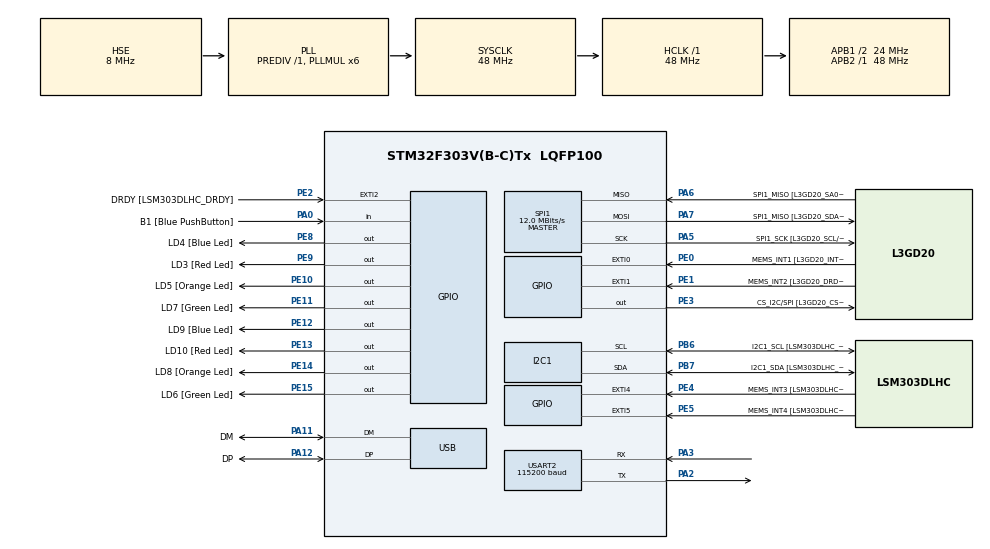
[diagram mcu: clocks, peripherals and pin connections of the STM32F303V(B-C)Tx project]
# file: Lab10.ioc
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I2C1.Timing=0x2000090E
I2C1.Timing-I2C=0x2000090E
Mcu.Family=STM32F3
Mcu.Name=STM32F303V(B-C)Tx
Mcu.Package=LQFP100
NVIC.PriorityGroup=NVIC_PRIORITYGROUP_0
PA0.GPIO_Label=B1 [Blue PushButton]
PA0.Signal=GPIO_Input
PA11.GPIO_Label=DM
PA11.Mode=Device
PA11.Signal=USB_DM
PA12.GPIO_Label=DP
PA12.Mode=Device
PA12.Signal=USB_DP
PA13.GPIO_Label=SWDIO
PA13.Mode=Serial_Wire
PA13.Signal=SYS_JTMS-SWDIO
PA14.GPIO_Label=SWCLK
PA14.Mode=Serial_Wire
PA14.Signal=SYS_JTCK-SWCLK
PA2.Mode=Asynchronous
PA2.Signal=USART2_TX
PA3.Mode=Asynchronous
PA3.Signal=USART2_RX
PA5.GPIO_Label=SPI1_SCK [L3GD20_SCL/SPC]
PA5.Mode=Full_Duplex_Master
PA5.Signal=SPI1_SCK
PA6.GPIO_Label=SPI1_MISO [L3GD20_SA0/SDO]
PA6.Mode=Full_Duplex_Master
PA6.Signal=SPI1_MISO
PA7.GPIO_Label=SPI1_MISO [L3GD20_SDA/SDI/SDO]
PA7.Mode=Full_Duplex_Master
PA7.Signal=SPI1_MOSI
PB3.GPIO_Label=SWO
PB3.Signal=SYS_JTDO-TRACESWO
PB6.GPIO_Label=I2C1_SCL [LSM303DLHC_SCL]
PB6.GPIO_Pu=GPIO_PULLUP
PB6.Mode=I2C
PB6.Signal=I2C1_SCL
PB7.GPIO_Label=I2C1_SDA [LSM303DLHC_SDA]
PB7.GPIO_Pu=GPIO_PULLUP
PB7.Mode=I2C
PB7.Signal=I2C1_SDA
PC14-OSC32_IN.GPIO_Label=OSC32_IN
PC14-OSC32_IN.Signal=RCC_OSC32_IN
PC15-OSC32_OUT.GPIO_Label=OSC32_OUT
PC15-OSC32_OUT.Signal=RCC_OSC32_OUT
PE0.GPIO_Label=MEMS_INT1 [L3GD20_INT1]
PE0.GPIO_ModeDefaultEXTI=GPIO_MODE_EVT_RISING
PE0.Signal=GPXTI0
PE1.GPIO_Label=MEMS_INT2 [L3GD20_DRDY/INT2]
PE1.GPIO_ModeDefaultEXTI=GPIO_MODE_EVT_RISING
PE1.Signal=GPXTI1
PE10.GPIO_Label=LD5 [Orange Led]
PE10.Signal=GPIO_Output
PE11.GPIO_Label=LD7 [Green Led]
PE11.Signal=GPIO_Output
PE12.GPIO_Label=LD9 [Blue Led]
PE12.Signal=GPIO_Output
PE13.GPIO_Label=LD10 [Red Led]
PE13.Signal=GPIO_Output
PE14.GPIO_Label=LD8 [Orange Led]
PE14.Signal=GPIO_Output
PE15.GPIO_Label=LD6 [Green Led]
PE15.Signal=GPIO_Output
PE2.GPIO_Label=DRDY [LSM303DLHC_DRDY]
PE2.GPIO_ModeDefaultEXTI=GPIO_MODE_EVT_RISING
PE2.Signal=GPXTI2
PE3.GPIO_Label=CS_I2C/SPI [L3GD20_CS_I2C/SPI]
PE3.Signal=GPIO_Output
PE4.GPIO_Label=MEMS_INT3 [LSM303DLHC_INT1]
PE4.GPIO_ModeDefaultEXTI=GPIO_MODE_EVT_RISING
PE4.Signal=GPXTI4
PE5.GPIO_Label=MEMS_INT4 [LSM303DLHC_INT2]
PE5.GPIO_ModeDefaultEXTI=GPIO_MODE_EVT_RISING
PE5.Signal=GPXTI5
PE8.GPIO_Label=LD4 [Blue Led]
PE8.Signal=GPIO_Output
PE9.GPIO_Label=LD3 [Red Led]
PE9.Signal=GPIO_Output
PF0-OSC_IN.GPIO_Label=OSC_IN
PF0-OSC_IN.Mode=HSE-External-Clock-Source
PF0-OSC_IN.Signal=RCC_OSC_IN
PF1-OSC_OUT.GPIO_Label=OSC_OUT
PF1-OSC_OUT.Signal=RCC_OSC_OUT
ProjectManager.HeapSize=0x200
ProjectManager.StackSize=0x400
ProjectManager.TargetToolchain=CMake
RCC.AHBFreq_Value=48000000
RCC.APB1CLKDivider=RCC_HCLK_DIV2
RCC.APB1Freq_Value=24000000
RCC.APB1TimFreq_Value=48000000
RCC.APB2Freq_Value=48000000
RCC.APB2TimFreq_Value=48000000
RCC.CortexFreq_Value=48000000
RCC.HCLKFreq_Value=48000000
RCC.HSE_VALUE=8000000
RCC.HSI_VALUE=8000000
RCC.LSE_VALUE=32768
RCC.PLLMUL=RCC_PLL_MUL6
RCC.SYSCLKFreq_VALUE=48000000
RCC.SYSCLKSourceVirtual=RCC_SYSCLKSOURCE_PLLCLK
RCC.USBFreq_Value=48000000
SPI1.BaudRatePrescaler=SPI_BAUDRATEPRESCALER_4
SPI1.BaudRatePrescaler-Full_Duplex_Master=SPI_BAUDRATEPRESCALER_2
SPI1.CalculateBaudRate=12.0 MBits/s
SPI1.CalculateBaudRate-Full_Duplex_Master=24.0 MBits/s
SPI1.Direction=SPI_DIRECTION_2LINES
SPI1.Mode=SPI_MODE_MASTER
SPI1.Mode-Full_Duplex_Master=SPI_MODE_MASTER
SPI1.VirtualType=VM_MASTER
USART2.BaudRate=115200
USART2.VirtualMode-Asynchronous=VM_ASYNC
board=STM32F3DISCOVERY

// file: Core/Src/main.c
/* USER CODE BEGIN Header */
/**
  ******************************************************************************
  * @file           : main.c
  * @brief          : Main program body
  ******************************************************************************
  * @attention
  *
  * Copyright (c) 2026 STMicroelectronics.
  * All rights reserved.
  *
  * This software is licensed under terms that can be found in the LICENSE file
  * in the root directory of this software component.
  * If no LICENSE file comes with this software, it is provided AS-IS.
  *
  ******************************************************************************
  */
/* USER CODE END Header */
#include "main.h"

/* USER CODE BEGIN Includes */
//task01 begin
#include <stdlib.h>
#include <stdio.h>
#include <string.h>
//task01 end
/* USER CODE END Includes */

I2C_HandleTypeDef hi2c1;

SPI_HandleTypeDef hspi1;

UART_HandleTypeDef huart2;

PCD_HandleTypeDef hpcd_USB_FS;

void SystemClock_Config(void);
static void MX_GPIO_Init(void);
static void MX_I2C1_Init(void);
static void MX_SPI1_Init(void);
static void MX_USART2_UART_Init(void);
static void MX_USB_PCD_Init(void);

/* USER CODE BEGIN 0 */
//task01 begin
// void execute_lab10_task1(void) {
//     const int n = 10;
//     char buffer[100]; // Buffer for UART transmission

//     // 1. Allocate using malloc()
//     int* malloc_arr = (int*)malloc(n * sizeof(int));
//     if (malloc_arr != NULL) {
//         for (int i = 0; i < n; i++) {
//             malloc_arr[i] = i * 2;
//         }
//     }

//     // 2. Allocate using calloc()
//     int* calloc_arr = (int*)calloc(n, sizeof(int));
//     if (calloc_arr != NULL) {
//         for (int i = 0; i < n; i++) {
//             calloc_arr[i] = i + 1;
//         }
//     }

//     // 3. Print contents using HAL_UART_Transmit
//     if (malloc_arr != NULL && calloc_arr != NULL) {
//         sprintf(buffer, "Malloc Array: ");
//         HAL_UART_Transmit(&huart2, (uint8_t*)buffer, strlen(buffer), HAL_MAX_DELAY);
//         for (int i = 0; i < n; i++) {
//             sprintf(buffer, "%d ", malloc_arr[i]);
//             HAL_UART_Transmit(&huart2, (uint8_t*)buffer, strlen(buffer), HAL_MAX_DELAY);
//         }

//         sprintf(buffer, "\r\nCalloc Array: ");
//         HAL_UART_Transmit(&huart2, (uint8_t*)buffer, strlen(buffer), HAL_MAX_DELAY);
//         for (int i = 0; i < n; i++) {
//             sprintf(buffer, "%d ", calloc_arr[i]);
//             HAL_UART_Transmit(&huart2, (uint8_t*)buffer, strlen(buffer), HAL_MAX_DELAY);
//         }
//         sprintf(buffer, "\r\n");
//         HAL_UART_Transmit(&huart2, (uint8_t*)buffer, strlen(buffer), HAL_MAX_DELAY);
//     }

//     // 4. Deallocate and clear pointers
//     free(malloc_arr);
//     malloc_arr = NULL;

//     free(calloc_arr);
//     calloc_arr = NULL;

//     // 5. Final success message
//     sprintf(buffer, "Memory successfully freed and pointers cleared.\r\n\r\n");
//     HAL_UART_Transmit(&huart2, (uint8_t*)buffer, strlen(buffer), HAL_MAX_DELAY);
// }
//task01 end

//task02 begin
#define CUSTOM_HEAP_SIZE 1024
uint8_t custom_heap[CUSTOM_HEAP_SIZE];
size_t heap_offset = 0;

void* custom_malloc(size_t size) {
    size_t aligned_size = (size + 3) & ~3;
    if (heap_offset + aligned_size <= CUSTOM_HEAP_SIZE) {
        void* ptr = &custom_heap[heap_offset];
        heap_offset += aligned_size;
        return ptr;
    }
    return NULL;
}

void custom_free_all(void) {
    heap_offset = 0;
}

void execute_lab10_task2(void) {
    char buffer[100];
    int* custom_arr = (int*)custom_malloc(5 * sizeof(int));

    if (custom_arr != NULL) {
        sprintf(buffer, "Custom Heap Array: ");
        HAL_UART_Transmit(&huart2, (uint8_t*)buffer, strlen(buffer), HAL_MAX_DELAY);

        for (int i = 0; i < 5; i++) {
            custom_arr[i] = (i + 1) * 10;
            sprintf(buffer, "%d ", custom_arr[i]);
            HAL_UART_Transmit(&huart2, (uint8_t*)buffer, strlen(buffer), HAL_MAX_DELAY);
        }
        sprintf(buffer, "\r\nCustom memory successfully tested.\r\n");
        HAL_UART_Transmit(&huart2, (uint8_t*)buffer, strlen(buffer), HAL_MAX_DELAY);
    }
    custom_free_all();
    custom_arr = NULL;
}
//task02 end
/* USER CODE END 0 */

int main(void)
{

  /* MCU Configuration--------------------------------------------------------*/

  /* Reset of all peripherals, Initializes the Flash interface and the Systick. */
  HAL_Init();

  /* Configure the system clock */
  SystemClock_Config();

  /* Initialize all configured peripherals */
  MX_GPIO_Init();
  MX_I2C1_Init();
  MX_SPI1_Init();
  MX_USART2_UART_Init();
  MX_USB_PCD_Init();
  /* USER CODE BEGIN 2 */
  //task01 begin
  // execute_lab10_task1();
  //task01 end

  //task02 begin
  execute_lab10_task2();
  //task02 end
  /* USER CODE END 2 */

  /* Infinite loop */
  while (1)
  {

  }
}

void SystemClock_Config(void)
{
  RCC_OscInitTypeDef RCC_OscInitStruct = {0};
  RCC_ClkInitTypeDef RCC_ClkInitStruct = {0};
  RCC_PeriphCLKInitTypeDef PeriphClkInit = {0};

  /** Initializes the RCC Oscillators according to the specified parameters
  * in the RCC_OscInitTypeDef structure.
  */
  RCC_OscInitStruct.OscillatorType = RCC_OSCILLATORTYPE_HSI|RCC_OSCILLATORTYPE_HSE;
  RCC_OscInitStruct.HSEState = RCC_HSE_BYPASS;
  RCC_OscInitStruct.HSEPredivValue = RCC_HSE_PREDIV_DIV1;
  RCC_OscInitStruct.HSIState = RCC_HSI_ON;
  RCC_OscInitStruct.HSICalibrationValue = RCC_HSICALIBRATION_DEFAULT;
  RCC_OscInitStruct.PLL.PLLState = RCC_PLL_ON;
  RCC_OscInitStruct.PLL.PLLSource = RCC_PLLSOURCE_HSE;
  RCC_OscInitStruct.PLL.PLLMUL = RCC_PLL_MUL6;
  if (HAL_RCC_OscConfig(&RCC_OscInitStruct) != HAL_OK)
  {
    Error_Handler();
  }

  /** Initializes the CPU, AHB and APB buses clocks
  */
  RCC_ClkInitStruct.ClockType = RCC_CLOCKTYPE_HCLK|RCC_CLOCKTYPE_SYSCLK
                              |RCC_CLOCKTYPE_PCLK1|RCC_CLOCKTYPE_PCLK2;
  RCC_ClkInitStruct.SYSCLKSource = RCC_SYSCLKSOURCE_PLLCLK;
  RCC_ClkInitStruct.AHBCLKDivider = RCC_SYSCLK_DIV1;
  RCC_ClkInitStruct.APB1CLKDivider = RCC_HCLK_DIV2;
  RCC_ClkInitStruct.APB2CLKDivider = RCC_HCLK_DIV1;

  if (HAL_RCC_ClockConfig(&RCC_ClkInitStruct, FLASH_LATENCY_1) != HAL_OK)
  {
    Error_Handler();
  }
  PeriphClkInit.PeriphClockSelection = RCC_PERIPHCLK_USB|RCC_PERIPHCLK_USART2
                              |RCC_PERIPHCLK_I2C1;
  PeriphClkInit.Usart2ClockSelection = RCC_USART2CLKSOURCE_PCLK1;
  PeriphClkInit.I2c1ClockSelection = RCC_I2C1CLKSOURCE_HSI;
  PeriphClkInit.USBClockSelection = RCC_USBCLKSOURCE_PLL;
  if (HAL_RCCEx_PeriphCLKConfig(&PeriphClkInit) != HAL_OK)
  {
    Error_Handler();
  }
}

static void MX_I2C1_Init(void)
{

  hi2c1.Instance = I2C1;
  hi2c1.Init.Timing = 0x2000090E;
  hi2c1.Init.OwnAddress1 = 0;
  hi2c1.Init.AddressingMode = I2C_ADDRESSINGMODE_7BIT;
  hi2c1.Init.DualAddressMode = I2C_DUALADDRESS_DISABLE;
  hi2c1.Init.OwnAddress2 = 0;
  hi2c1.Init.OwnAddress2Masks = I2C_OA2_NOMASK;
  hi2c1.Init.GeneralCallMode = I2C_GENERALCALL_DISABLE;
  hi2c1.Init.NoStretchMode = I2C_NOSTRETCH_DISABLE;
  if (HAL_I2C_Init(&hi2c1) != HAL_OK)
  {
    Error_Handler();
  }

  /** Configure Analogue filter
  */
  if (HAL_I2CEx_ConfigAnalogFilter(&hi2c1, I2C_ANALOGFILTER_ENABLE) != HAL_OK)
  {
    Error_Handler();
  }

  /** Configure Digital filter
  */
  if (HAL_I2CEx_ConfigDigitalFilter(&hi2c1, 0) != HAL_OK)
  {
    Error_Handler();
  }

}

static void MX_SPI1_Init(void)
{

  /* SPI1 parameter configuration*/
  hspi1.Instance = SPI1;
  hspi1.Init.Mode = SPI_MODE_MASTER;
  hspi1.Init.Direction = SPI_DIRECTION_2LINES;
  hspi1.Init.DataSize = SPI_DATASIZE_4BIT;
  hspi1.Init.CLKPolarity = SPI_POLARITY_LOW;
  hspi1.Init.CLKPhase = SPI_PHASE_1EDGE;
  hspi1.Init.NSS = SPI_NSS_SOFT;
  hspi1.Init.BaudRatePrescaler = SPI_BAUDRATEPRESCALER_4;
  hspi1.Init.FirstBit = SPI_FIRSTBIT_MSB;
  hspi1.Init.TIMode = SPI_TIMODE_DISABLE;
  hspi1.Init.CRCCalculation = SPI_CRCCALCULATION_DISABLE;
  hspi1.Init.CRCPolynomial = 7;
  hspi1.Init.CRCLength = SPI_CRC_LENGTH_DATASIZE;
  hspi1.Init.NSSPMode = SPI_NSS_PULSE_ENABLE;
  if (HAL_SPI_Init(&hspi1) != HAL_OK)
  {
    Error_Handler();
  }

}

static void MX_USART2_UART_Init(void)
{

  huart2.Instance = USART2;
  huart2.Init.BaudRate = 115200;
  huart2.Init.WordLength = UART_WORDLENGTH_8B;
  huart2.Init.StopBits = UART_STOPBITS_1;
  huart2.Init.Parity = UART_PARITY_NONE;
  huart2.Init.Mode = UART_MODE_TX_RX;
  huart2.Init.HwFlowCtl = UART_HWCONTROL_NONE;
  huart2.Init.OverSampling = UART_OVERSAMPLING_16;
  huart2.Init.OneBitSampling = UART_ONE_BIT_SAMPLE_DISABLE;
  huart2.AdvancedInit.AdvFeatureInit = UART_ADVFEATURE_NO_INIT;
  if (HAL_UART_Init(&huart2) != HAL_OK)
  {
    Error_Handler();
  }

}

static void MX_USB_PCD_Init(void)
{

  hpcd_USB_FS.Instance = USB;
  hpcd_USB_FS.Init.dev_endpoints = 8;
  hpcd_USB_FS.Init.speed = PCD_SPEED_FULL;
  hpcd_USB_FS.Init.phy_itface = PCD_PHY_EMBEDDED;
  hpcd_USB_FS.Init.low_power_enable = DISABLE;
  hpcd_USB_FS.Init.battery_charging_enable = DISABLE;
  if (HAL_PCD_Init(&hpcd_USB_FS) != HAL_OK)
  {
    Error_Handler();
  }

}

static void MX_GPIO_Init(void)
{
  GPIO_InitTypeDef GPIO_InitStruct = {0};

  /* GPIO Ports Clock Enable */
  __HAL_RCC_GPIOE_CLK_ENABLE();
  __HAL_RCC_GPIOC_CLK_ENABLE();
  __HAL_RCC_GPIOF_CLK_ENABLE();
  __HAL_RCC_GPIOA_CLK_ENABLE();
  __HAL_RCC_GPIOB_CLK_ENABLE();

  /*Configure GPIO pin Output Level */
  HAL_GPIO_WritePin(GPIOE, CS_I2C_SPI_Pin|LD4_Pin|LD3_Pin|LD5_Pin
                          |LD7_Pin|LD9_Pin|LD10_Pin|LD8_Pin
                          |LD6_Pin, GPIO_PIN_RESET);

  /*Configure GPIO pins : DRDY_Pin MEMS_INT3_Pin MEMS_INT4_Pin MEMS_INT1_Pin
                           MEMS_INT2_Pin */
  GPIO_InitStruct.Pin = DRDY_Pin|MEMS_INT3_Pin|MEMS_INT4_Pin|MEMS_INT1_Pin
                          |MEMS_INT2_Pin;
  GPIO_InitStruct.Mode = GPIO_MODE_EVT_RISING;
  GPIO_InitStruct.Pull = GPIO_NOPULL;
  HAL_GPIO_Init(GPIOE, &GPIO_InitStruct);

  /*Configure GPIO pins : CS_I2C_SPI_Pin LD4_Pin LD3_Pin LD5_Pin
                           LD7_Pin LD9_Pin LD10_Pin LD8_Pin
                           LD6_Pin */
  GPIO_InitStruct.Pin = CS_I2C_SPI_Pin|LD4_Pin|LD3_Pin|LD5_Pin
                          |LD7_Pin|LD9_Pin|LD10_Pin|LD8_Pin
                          |LD6_Pin;
  GPIO_InitStruct.Mode = GPIO_MODE_OUTPUT_PP;
  GPIO_InitStruct.Pull = GPIO_NOPULL;
  GPIO_InitStruct.Speed = GPIO_SPEED_FREQ_LOW;
  HAL_GPIO_Init(GPIOE, &GPIO_InitStruct);

  /*Configure GPIO pin : B1_Pin */
  GPIO_InitStruct.Pin = B1_Pin;
  GPIO_InitStruct.Mode = GPIO_MODE_INPUT;
  GPIO_InitStruct.Pull = GPIO_NOPULL;
  HAL_GPIO_Init(B1_GPIO_Port, &GPIO_InitStruct);

}

void Error_Handler(void)
{
  __disable_irq();
  while (1)
  {
  }
}
